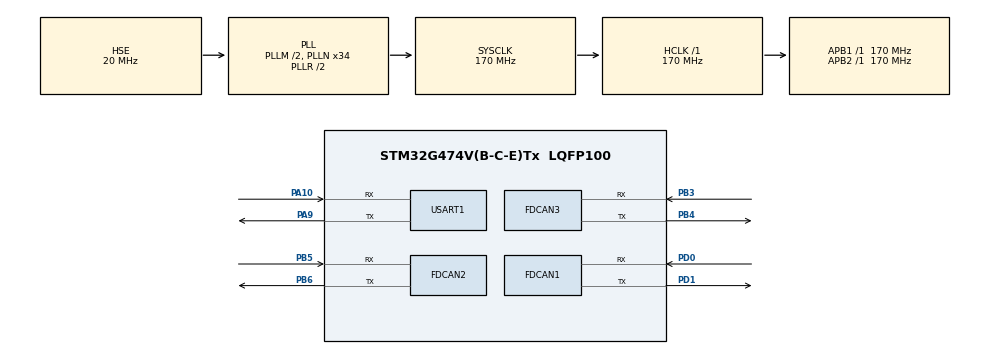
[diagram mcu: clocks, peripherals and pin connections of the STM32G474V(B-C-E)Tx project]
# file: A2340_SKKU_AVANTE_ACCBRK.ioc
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Dma.Request0=USART1_RX
Dma.Request1=USART1_TX
Dma.USART1_RX.0.Direction=DMA_PERIPH_TO_MEMORY
Dma.USART1_RX.0.EventEnable=DISABLE
Dma.USART1_RX.0.Instance=DMA1_Channel1
Dma.USART1_RX.0.MemDataAlignment=DMA_MDATAALIGN_BYTE
Dma.USART1_RX.0.MemInc=DMA_MINC_ENABLE
Dma.USART1_RX.0.Mode=DMA_NORMAL
Dma.USART1_RX.0.PeriphDataAlignment=DMA_PDATAALIGN_BYTE
Dma.USART1_RX.0.PeriphInc=DMA_PINC_DISABLE
Dma.USART1_RX.0.Polarity=HAL_DMAMUX_REQ_GEN_RISING
Dma.USART1_RX.0.Priority=DMA_PRIORITY_LOW
Dma.USART1_RX.0.RequestNumber=1
Dma.USART1_RX.0.SignalID=NONE
Dma.USART1_RX.0.SyncEnable=DISABLE
Dma.USART1_RX.0.SyncPolarity=HAL_DMAMUX_SYNC_NO_EVENT
Dma.USART1_RX.0.SyncRequestNumber=1
Dma.USART1_RX.0.SyncSignalID=NONE
Dma.USART1_TX.1.Direction=DMA_MEMORY_TO_PERIPH
Dma.USART1_TX.1.EventEnable=DISABLE
Dma.USART1_TX.1.Instance=DMA1_Channel2
Dma.USART1_TX.1.MemDataAlignment=DMA_MDATAALIGN_BYTE
Dma.USART1_TX.1.MemInc=DMA_MINC_ENABLE
Dma.USART1_TX.1.Mode=DMA_NORMAL
Dma.USART1_TX.1.PeriphDataAlignment=DMA_PDATAALIGN_BYTE
Dma.USART1_TX.1.PeriphInc=DMA_PINC_DISABLE
Dma.USART1_TX.1.Polarity=HAL_DMAMUX_REQ_GEN_RISING
Dma.USART1_TX.1.Priority=DMA_PRIORITY_LOW
Dma.USART1_TX.1.RequestNumber=1
Dma.USART1_TX.1.SignalID=NONE
Dma.USART1_TX.1.SyncEnable=DISABLE
Dma.USART1_TX.1.SyncPolarity=HAL_DMAMUX_SYNC_NO_EVENT
Dma.USART1_TX.1.SyncRequestNumber=1
Dma.USART1_TX.1.SyncSignalID=NONE
FDCAN1.AutoRetransmission=ENABLE
FDCAN1.CalculateBaudRateNominal=499999
FDCAN1.CalculateTimeBitNominal=2000
FDCAN1.CalculateTimeQuantumNominal=117.64705882352942
FDCAN1.DataPrescaler=1
FDCAN1.NominalPrescaler=20
FDCAN1.NominalSyncJumpWidth=1
FDCAN1.NominalTimeSeg1=14
FDCAN1.NominalTimeSeg2=2
FDCAN1.StdFiltersNbr=1
FDCAN2.AutoRetransmission=ENABLE
FDCAN2.CalculateBaudRateNominal=499999
FDCAN2.CalculateTimeBitNominal=2000
FDCAN2.CalculateTimeQuantumNominal=117.64705882352942
FDCAN2.NominalPrescaler=20
FDCAN2.NominalSyncJumpWidth=1
FDCAN2.NominalTimeSeg1=14
FDCAN2.NominalTimeSeg2=2
FDCAN2.StdFiltersNbr=1
FDCAN3.AutoRetransmission=ENABLE
FDCAN3.CalculateBaudRateNominal=499999
FDCAN3.CalculateTimeBitNominal=2000
FDCAN3.CalculateTimeQuantumNominal=117.64705882352942
FDCAN3.NominalPrescaler=20
FDCAN3.NominalSyncJumpWidth=1
FDCAN3.NominalTimeSeg1=14
FDCAN3.NominalTimeSeg2=2
FDCAN3.StdFiltersNbr=1
FREERTOS.Tasks01=TreezeTask_1,2,512,StartTreezeTask_1,As weak,NULL,Dynamic,NULL,NULL;TreezeTask_2,0,512,StartTreezeTask_2,As weak,NULL,Dynamic,NULL,NULL;TreezeTask_3,-2,512,StartTreezeTask_3,As weak,NULL,Dynamic,NULL,NULL
FREERTOS.configTOTAL_HEAP_SIZE=9216
FREERTOS.configUSE_NEWLIB_REENTRANT=1
Mcu.Family=STM32G4
Mcu.Name=STM32G474V(B-C-E)Tx
Mcu.Package=LQFP100
NVIC.DMA1_Channel1_IRQn=true\:5\:0\:false\:false\:true\:true\:false\:true\:true
NVIC.DMA1_Channel2_IRQn=true\:5\:0\:false\:false\:true\:true\:false\:true\:true
NVIC.FDCAN1_IT0_IRQn=true\:5\:0\:false\:false\:true\:true\:true\:true\:true
NVIC.FDCAN2_IT0_IRQn=true\:5\:0\:false\:false\:true\:true\:true\:true\:true
NVIC.FDCAN3_IT0_IRQn=true\:5\:0\:false\:false\:true\:true\:true\:true\:true
NVIC.PriorityGroup=NVIC_PRIORITYGROUP_4
NVIC.TIM1_UP_TIM16_IRQn=true\:15\:0\:false\:false\:true\:false\:false\:true\:true
NVIC.TimeBase=TIM1_UP_TIM16_IRQn
NVIC.TimeBaseIP=TIM1
NVIC.USART1_IRQn=true\:5\:0\:false\:false\:true\:true\:true\:true\:true
PA10.Mode=Asynchronous
PA10.Signal=USART1_RX
PA13.Mode=Serial_Wire
PA13.Signal=SYS_JTMS-SWDIO
PA14.Mode=Serial_Wire
PA14.Signal=SYS_JTCK-SWCLK
PA9.Mode=Asynchronous
PA9.Signal=USART1_TX
PB3.Mode=FDCAN_Activate
PB3.Signal=FDCAN3_RX
PB4.Mode=FDCAN_Activate
PB4.Signal=FDCAN3_TX
PB5.Mode=FDCAN_Activate
PB5.Signal=FDCAN2_RX
PB6.Mode=FDCAN_Activate
PB6.Signal=FDCAN2_TX
PD0.Mode=FDCAN_Activate
PD0.Signal=FDCAN1_RX
PD1.Mode=FDCAN_Activate
PD1.Signal=FDCAN1_TX
PF0-OSC_IN.Mode=HSE-External-Oscillator
PF0-OSC_IN.Signal=RCC_OSC_IN
PF1-OSC_OUT.Mode=HSE-External-Oscillator
PF1-OSC_OUT.Signal=RCC_OSC_OUT
ProjectManager.HeapSize=0x200
ProjectManager.StackSize=0x400
ProjectManager.TargetToolchain=STM32CubeIDE
RCC.ADC12Freq_Value=170000000
RCC.ADC345Freq_Value=170000000
RCC.AHBFreq_Value=170000000
RCC.APB1Freq_Value=170000000
RCC.APB1TimFreq_Value=170000000
RCC.APB2Freq_Value=170000000
RCC.APB2TimFreq_Value=170000000
RCC.CortexFreq_Value=170000000
RCC.EXTERNAL_CLOCK_VALUE=12288000
RCC.HCLKFreq_Value=170000000
RCC.HSE_VALUE=20000000
RCC.HSI48_VALUE=48000000
RCC.HSI_VALUE=16000000
RCC.LSE_VALUE=32768
RCC.PLLM=RCC_PLLM_DIV2
RCC.PLLN=34
RCC.PLLSourceVirtual=RCC_PLLSOURCE_HSE
RCC.SYSCLKFreq_VALUE=170000000
RCC.SYSCLKSource=RCC_SYSCLKSOURCE_PLLCLK
RCC.USBFreq_Value=170000000
RCC.VCOOutputFreq_Value=340000000
USART1.VirtualMode-Asynchronous=VM_ASYNC
VP_FREERTOS_VS_CMSIS_V1.Mode=CMSIS_V1
VP_SYS_VS_tim1.Mode=TIM1
board=custom

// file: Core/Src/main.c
/* USER CODE BEGIN Header */
/**
 ******************************************************************************
 * @file           : main.c
 * @brief          : Main program body
 ******************************************************************************
 * @attention
 *
 * Copyright (c) 2022 STMicroelectronics.
 * All rights reserved.
 *
 * This software is licensed under terms that can be found in the LICENSE file
 * in the root directory of this software component.
 * If no LICENSE file comes with this software, it is provided AS-IS.
 *
 ******************************************************************************
 */
/* USER CODE END Header */
#include "main.h"
#include "cmsis_os.h"

/* USER CODE BEGIN Includes */
#include"string.h"
#include "core.h"
#include <stdio.h>
/* USER CODE END Includes */

FDCAN_HandleTypeDef hfdcan1;
FDCAN_HandleTypeDef hfdcan2;
FDCAN_HandleTypeDef hfdcan3;

UART_HandleTypeDef huart1;
DMA_HandleTypeDef hdma_usart1_rx;
DMA_HandleTypeDef hdma_usart1_tx;

osThreadId TreezeTask_1Handle;
osThreadId TreezeTask_2Handle;
osThreadId TreezeTask_3Handle;

void SystemClock_Config(void);
static void MX_GPIO_Init(void);
static void MX_DMA_Init(void);
static void MX_FDCAN1_Init(void);
static void MX_FDCAN2_Init(void);
static void MX_FDCAN3_Init(void);
static void MX_USART1_UART_Init(void);
void StartTreezeTask_1(void const * argument);
void StartTreezeTask_2(void const * argument);
void StartTreezeTask_3(void const * argument);

/* USER CODE BEGIN PFP */

//Can_Tx_Header_Set
FDCAN_TxHeaderTypeDef Can_Tx_Header;

//Can_Rx_Header_Set
FDCAN_RxHeaderTypeDef  Can_Rx_Header;

//Can_Filter_Set
FDCAN_FilterTypeDef can1_filter;
FDCAN_FilterTypeDef can2_filter;
FDCAN_FilterTypeDef can3_filter;

/* USER CODE END PFP */

int main(void)
{

	/* MCU Configuration--------------------------------------------------------*/

	/* Reset of all peripherals, Initializes the Flash interface and the Systick. */
	HAL_Init();

	/* Configure the system clock */
	SystemClock_Config();

	/* Initialize all configured peripherals */
	MX_GPIO_Init();
	MX_DMA_Init();
	MX_FDCAN1_Init();
	MX_FDCAN2_Init();
	MX_FDCAN3_Init();
	MX_USART1_UART_Init();
	/* USER CODE BEGIN 2 */
	//Motor INIT
	motor_pw_check.no_can_cnt = 0;
	while(!motor_info.ready);
	HAL_Delay(1000);
	MotorInit();
	/* USER CODE END 2 */

	/* Create the thread(s) */
	/* definition and creation of TreezeTask_1 */
	osThreadDef(TreezeTask_1, StartTreezeTask_1, osPriorityHigh, 0, 512);
	TreezeTask_1Handle = osThreadCreate(osThread(TreezeTask_1), NULL);

	/* definition and creation of TreezeTask_2 */
	osThreadDef(TreezeTask_2, StartTreezeTask_2, osPriorityNormal, 0, 512);
	TreezeTask_2Handle = osThreadCreate(osThread(TreezeTask_2), NULL);

	/* definition and creation of TreezeTask_3 */
	osThreadDef(TreezeTask_3, StartTreezeTask_3, osPriorityLow, 0, 512);
	TreezeTask_3Handle = osThreadCreate(osThread(TreezeTask_3), NULL);

	/* Start scheduler */
	osKernelStart();

	/* We should never get here as control is now taken by the scheduler */
	/* Infinite loop */
	while (1)
	{

	}
}

void SystemClock_Config(void)
{
	RCC_OscInitTypeDef RCC_OscInitStruct = {0};
	RCC_ClkInitTypeDef RCC_ClkInitStruct = {0};

	/** Configure the main internal regulator output voltage
	 */
	HAL_PWREx_ControlVoltageScaling(PWR_REGULATOR_VOLTAGE_SCALE1_BOOST);

	/** Initializes the RCC Oscillators according to the specified parameters
	 * in the RCC_OscInitTypeDef structure.
	 */
	RCC_OscInitStruct.OscillatorType = RCC_OSCILLATORTYPE_HSE;
	RCC_OscInitStruct.HSEState = RCC_HSE_ON;
	RCC_OscInitStruct.PLL.PLLState = RCC_PLL_ON;
	RCC_OscInitStruct.PLL.PLLSource = RCC_PLLSOURCE_HSE;
	RCC_OscInitStruct.PLL.PLLM = RCC_PLLM_DIV2;
	RCC_OscInitStruct.PLL.PLLN = 34;
	RCC_OscInitStruct.PLL.PLLP = RCC_PLLP_DIV2;
	RCC_OscInitStruct.PLL.PLLQ = RCC_PLLQ_DIV2;
	RCC_OscInitStruct.PLL.PLLR = RCC_PLLR_DIV2;
	if (HAL_RCC_OscConfig(&RCC_OscInitStruct) != HAL_OK)
	{
		Error_Handler();
	}

	/** Initializes the CPU, AHB and APB buses clocks
	 */
	RCC_ClkInitStruct.ClockType = RCC_CLOCKTYPE_HCLK|RCC_CLOCKTYPE_SYSCLK
			|RCC_CLOCKTYPE_PCLK1|RCC_CLOCKTYPE_PCLK2;
	RCC_ClkInitStruct.SYSCLKSource = RCC_SYSCLKSOURCE_PLLCLK;
	RCC_ClkInitStruct.AHBCLKDivider = RCC_SYSCLK_DIV1;
	RCC_ClkInitStruct.APB1CLKDivider = RCC_HCLK_DIV1;
	RCC_ClkInitStruct.APB2CLKDivider = RCC_HCLK_DIV1;

	if (HAL_RCC_ClockConfig(&RCC_ClkInitStruct, FLASH_LATENCY_4) != HAL_OK)
	{
		Error_Handler();
	}
}

static void MX_FDCAN1_Init(void)
{

	hfdcan1.Instance = FDCAN1;
	hfdcan1.Init.ClockDivider = FDCAN_CLOCK_DIV1;
	hfdcan1.Init.FrameFormat = FDCAN_FRAME_CLASSIC;
	hfdcan1.Init.Mode = FDCAN_MODE_NORMAL;
	hfdcan1.Init.AutoRetransmission = ENABLE;
	hfdcan1.Init.TransmitPause = DISABLE;
	hfdcan1.Init.ProtocolException = DISABLE;
	hfdcan1.Init.NominalPrescaler = 20;
	hfdcan1.Init.NominalSyncJumpWidth = 1;
	hfdcan1.Init.NominalTimeSeg1 = 14;
	hfdcan1.Init.NominalTimeSeg2 = 2;
	hfdcan1.Init.DataPrescaler = 1;
	hfdcan1.Init.DataSyncJumpWidth = 1;
	hfdcan1.Init.DataTimeSeg1 = 1;
	hfdcan1.Init.DataTimeSeg2 = 1;
	hfdcan1.Init.StdFiltersNbr = 1;
	hfdcan1.Init.ExtFiltersNbr = 0;
	hfdcan1.Init.TxFifoQueueMode = FDCAN_TX_FIFO_OPERATION;
	if (HAL_FDCAN_Init(&hfdcan1) != HAL_OK)
	{
		Error_Handler();
	}
	/* USER CODE BEGIN FDCAN1_Init 2 */
	//Can_filter
	can1_filter.IdType = FDCAN_STANDARD_ID;
	can1_filter.FilterIndex = 0;
	can1_filter.FilterType = FDCAN_FILTER_RANGE;
	can1_filter.FilterConfig = FDCAN_FILTER_TO_RXFIFO0;
	can1_filter.FilterID1 = 0x001;
	can1_filter.FilterID2 = 0x7FF;

	//Can_start
	if( HAL_FDCAN_ConfigFilter(&hfdcan1, &can1_filter) != HAL_OK ) {
		Error_Handler();
	}

	if(HAL_FDCAN_ActivateNotification(&hfdcan1, FDCAN_INTERRUPT_LINE0, FDCAN_TX_BUFFER0|FDCAN_TX_BUFFER1|FDCAN_TX_BUFFER2) != HAL_OK )
	{
		Error_Handler();
	}

	if(HAL_FDCAN_Start(&hfdcan1) != HAL_OK)
	{
		Error_Handler();
	}
	/* USER CODE END FDCAN1_Init 2 */

}

static void MX_FDCAN2_Init(void)
{

	hfdcan2.Instance = FDCAN2;
	hfdcan2.Init.ClockDivider = FDCAN_CLOCK_DIV1;
	hfdcan2.Init.FrameFormat = FDCAN_FRAME_CLASSIC;
	hfdcan2.Init.Mode = FDCAN_MODE_NORMAL;
	hfdcan2.Init.AutoRetransmission = ENABLE;
	hfdcan2.Init.TransmitPause = DISABLE;
	hfdcan2.Init.ProtocolException = DISABLE;
	hfdcan2.Init.NominalPrescaler = 20;
	hfdcan2.Init.NominalSyncJumpWidth = 1;
	hfdcan2.Init.NominalTimeSeg1 = 14;
	hfdcan2.Init.NominalTimeSeg2 = 2;
	hfdcan2.Init.DataPrescaler = 1;
	hfdcan2.Init.DataSyncJumpWidth = 1;
	hfdcan2.Init.DataTimeSeg1 = 1;
	hfdcan2.Init.DataTimeSeg2 = 1;
	hfdcan2.Init.StdFiltersNbr = 1;
	hfdcan2.Init.ExtFiltersNbr = 0;
	hfdcan2.Init.TxFifoQueueMode = FDCAN_TX_FIFO_OPERATION;
	if (HAL_FDCAN_Init(&hfdcan2) != HAL_OK)
	{
		Error_Handler();
	}
	/* USER CODE BEGIN FDCAN2_Init 2 */
	//Can_filter
	can2_filter.IdType = FDCAN_STANDARD_ID;
	can2_filter.FilterIndex = 0;
	can2_filter.FilterType = FDCAN_FILTER_RANGE;
	can2_filter.FilterConfig = FDCAN_FILTER_TO_RXFIFO0;
	can2_filter.FilterID1 = 0x001;
	can2_filter.FilterID2 = 0x7FF;

	//Can_Start
	if( HAL_FDCAN_ConfigFilter(&hfdcan2, &can2_filter) != HAL_OK ) {
		Error_Handler();
	}

	if(HAL_FDCAN_ActivateNotification(&hfdcan2, FDCAN_INTERRUPT_LINE0, FDCAN_TX_BUFFER0|FDCAN_TX_BUFFER1|FDCAN_TX_BUFFER2) != HAL_OK )
	{
		Error_Handler();
	}

	if(HAL_FDCAN_Start(&hfdcan2) != HAL_OK)
	{
		Error_Handler();
	}
	/* USER CODE END FDCAN2_Init 2 */

}

static void MX_FDCAN3_Init(void)
{

	hfdcan3.Instance = FDCAN3;
	hfdcan3.Init.ClockDivider = FDCAN_CLOCK_DIV1;
	hfdcan3.Init.FrameFormat = FDCAN_FRAME_CLASSIC;
	hfdcan3.Init.Mode = FDCAN_MODE_NORMAL;
	hfdcan3.Init.AutoRetransmission = ENABLE;
	hfdcan3.Init.TransmitPause = DISABLE;
	hfdcan3.Init.ProtocolException = DISABLE;
	hfdcan3.Init.NominalPrescaler = 20;
	hfdcan3.Init.NominalSyncJumpWidth = 1;
	hfdcan3.Init.NominalTimeSeg1 = 14;
	hfdcan3.Init.NominalTimeSeg2 = 2;
	hfdcan3.Init.DataPrescaler = 1;
	hfdcan3.Init.DataSyncJumpWidth = 1;
	hfdcan3.Init.DataTimeSeg1 = 1;
	hfdcan3.Init.DataTimeSeg2 = 1;
	hfdcan3.Init.StdFiltersNbr = 1;
	hfdcan3.Init.ExtFiltersNbr = 0;
	hfdcan3.Init.TxFifoQueueMode = FDCAN_TX_FIFO_OPERATION;
	if (HAL_FDCAN_Init(&hfdcan3) != HAL_OK)
	{
		Error_Handler();
	}
	/* USER CODE BEGIN FDCAN3_Init 2 */
	//Can_filter
	can3_filter.IdType = FDCAN_STANDARD_ID;
	can3_filter.FilterIndex = 0;
	can3_filter.FilterType = FDCAN_FILTER_RANGE;
	can3_filter.FilterConfig = FDCAN_FILTER_TO_RXFIFO1;
	can3_filter.FilterID1 = 0x001;
	can3_filter.FilterID2 = 0x7FF;

	//Can_Start
	if( HAL_FDCAN_ConfigFilter(&hfdcan3, &can3_filter) != HAL_OK ) {
		Error_Handler();
	}

	if(HAL_FDCAN_ConfigGlobalFilter(&hfdcan3, FDCAN_REJECT, FDCAN_REJECT, FDCAN_FILTER_REMOTE, FDCAN_FILTER_REMOTE) != HAL_OK)
	{
		Error_Handler();
	}

	if(HAL_FDCAN_ActivateNotification(&hfdcan3, FDCAN_IT_RX_FIFO1_NEW_MESSAGE|FDCAN_IT_RX_FIFO1_FULL|FDCAN_IT_RX_FIFO1_MESSAGE_LOST, 0) != HAL_OK)
	{
		Error_Handler();
	}

	if(HAL_FDCAN_Start(&hfdcan3) != HAL_OK)
	{
		Error_Handler();
	}
	/* USER CODE END FDCAN3_Init 2 */

}

static void MX_USART1_UART_Init(void)
{

	huart1.Instance = USART1;
	huart1.Init.BaudRate = 115200;
	huart1.Init.WordLength = UART_WORDLENGTH_8B;
	huart1.Init.StopBits = UART_STOPBITS_1;
	huart1.Init.Parity = UART_PARITY_NONE;
	huart1.Init.Mode = UART_MODE_TX_RX;
	huart1.Init.HwFlowCtl = UART_HWCONTROL_NONE;
	huart1.Init.OverSampling = UART_OVERSAMPLING_16;
	huart1.Init.OneBitSampling = UART_ONE_BIT_SAMPLE_DISABLE;
	huart1.Init.ClockPrescaler = UART_PRESCALER_DIV1;
	huart1.AdvancedInit.AdvFeatureInit = UART_ADVFEATURE_NO_INIT;
	if (HAL_UART_Init(&huart1) != HAL_OK)
	{
		Error_Handler();
	}
	if (HAL_UARTEx_SetTxFifoThreshold(&huart1, UART_TXFIFO_THRESHOLD_1_8) != HAL_OK)
	{
		Error_Handler();
	}
	if (HAL_UARTEx_SetRxFifoThreshold(&huart1, UART_RXFIFO_THRESHOLD_1_8) != HAL_OK)
	{
		Error_Handler();
	}
	if (HAL_UARTEx_DisableFifoMode(&huart1) != HAL_OK)
	{
		Error_Handler();
	}
	/* USER CODE BEGIN USART1_Init 2 */

	HAL_UARTEx_ReceiveToIdle_DMA(&huart1, uart.rx_buffer, 8);
	__HAL_DMA_DISABLE_IT(&hdma_usart1_rx, DMA_IT_HT);
	//Start DMA
	/* USER CODE END USART1_Init 2 */

}

static void MX_DMA_Init(void)
{

	/* DMA controller clock enable */
	__HAL_RCC_DMAMUX1_CLK_ENABLE();
	__HAL_RCC_DMA1_CLK_ENABLE();

	/* DMA interrupt init */
	/* DMA1_Channel1_IRQn interrupt configuration */
	HAL_NVIC_SetPriority(DMA1_Channel1_IRQn, 5, 0);
	HAL_NVIC_EnableIRQ(DMA1_Channel1_IRQn);
	/* DMA1_Channel2_IRQn interrupt configuration */
	HAL_NVIC_SetPriority(DMA1_Channel2_IRQn, 5, 0);
	HAL_NVIC_EnableIRQ(DMA1_Channel2_IRQn);

}

static void MX_GPIO_Init(void)
{

	/* GPIO Ports Clock Enable */
	__HAL_RCC_GPIOF_CLK_ENABLE();
	__HAL_RCC_GPIOA_CLK_ENABLE();
	__HAL_RCC_GPIOD_CLK_ENABLE();
	__HAL_RCC_GPIOB_CLK_ENABLE();

}

__weak void StartTreezeTask_1(void const * argument)
{
	/* USER CODE BEGIN 5 */
	//  /* Infinite loop */
	//  for(;;)
	//  {
	//    osDelay(1);
	//  }
	/* USER CODE END 5 */
}

__weak void StartTreezeTask_2(void const * argument)
{
	for(;;)
	{
		osDelay(1);
	}
}

__weak void StartTreezeTask_3(void const * argument)
{
	for(;;)
	{
		osDelay(1);
	}
}

void HAL_TIM_PeriodElapsedCallback(TIM_HandleTypeDef *htim)
{
	if (htim->Instance == TIM1) {
		HAL_IncTick();
	}
}

void Error_Handler(void)
{
	__disable_irq();
	while (1)
	{
	}
}
